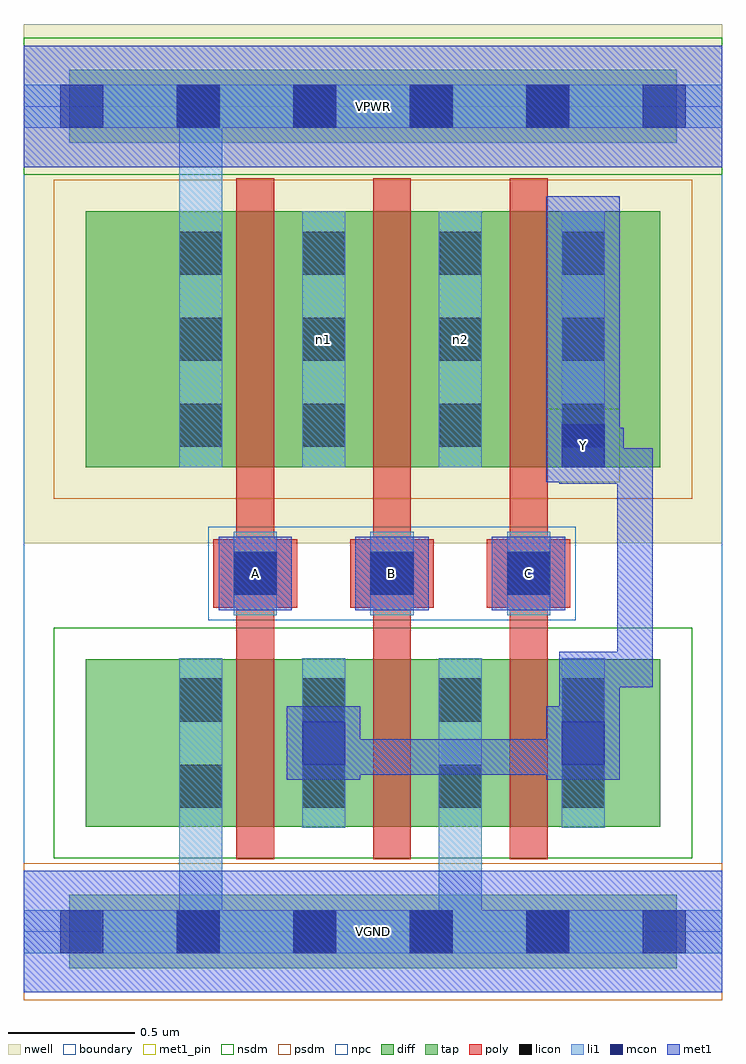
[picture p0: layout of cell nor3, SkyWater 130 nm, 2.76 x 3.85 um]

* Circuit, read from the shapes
.subckt nor3 A B C VGND VPWR Y n1 n2
XM1 Y A VGND VGND sky130_fd_pr__nfet_01v8 w=0.66 l=0.15
XM2 VGND B Y VGND sky130_fd_pr__nfet_01v8 w=0.66 l=0.15
XM3 Y C VGND VGND sky130_fd_pr__nfet_01v8 w=0.66 l=0.15
XM4 n1 A VPWR VPWR sky130_fd_pr__pfet_01v8 w=1.01 l=0.15
XM5 n2 B n1 VPWR sky130_fd_pr__pfet_01v8 w=1.01 l=0.15
XM6 Y C n2 VPWR sky130_fd_pr__pfet_01v8 w=1.01 l=0.15
.ends

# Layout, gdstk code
import gdstk
lib = gdstk.Library(unit=1e-6, precision=1e-09)
def R(c, l, rs):  # rectangles x0, y0, x1, y1
    for r in rs: c.add(gdstk.rectangle(r[:2], r[2:], *l))
def A(c, l, x, y, w, h, nx, ny, dx, dy):  # array of equal rectangles
    R(c, l, [(x+i*dx, y+j*dy, x+i*dx+w, y+j*dy+h) for i in range(nx) for j in range(ny)])
nwell = (64, 20)
diff = (65, 20)
tap = (65, 44)
poly = (66, 20)
licon = (66, 44)
li1 = (67, 20)
mcon = (67, 44)
met1_pin = (68, 16)
met1 = (68, 20)
nsdm = (93, 44)
psdm = (94, 20)
npc = (95, 20)
boundary = (235, 4)

nor3 = lib.new_cell('nor3')
R(nor3, nwell, [(0,1.535,2.76,3.585)])
R(nor3, diff, [(0.245,0.415,2.515,1.075), (0.245,1.835,2.515,2.845)])
R(nor3, tap, [(0.18,-0.145,2.58,0.145), (0.18,3.115,2.58,3.405)])
A(nor3, poly, 0.84, 0.285, 0.15, 2.69, 3, 1, 0.54, 0)
A(nor3, poly, 0.75, 1.28, 0.33, 0.27, 3, 1, 0.54, 0)
A(nor3, licon, 0.605, -0.085, 0.17, 0.17, 4, 2, 0.46, 3.26)
A(nor3, licon, 0.83, 1.33, 0.17, 0.17, 3, 1, 0.54, 0)
A(nor3, licon, 0.615, 1.915, 0.17, 0.17, 1, 3, 0, 0.34)
A(nor3, licon, 1.1, 1.915, 0.17, 0.17, 1, 3, 0, 0.34)
A(nor3, licon, 1.64, 1.915, 0.17, 0.17, 1, 3, 0, 0.34)
A(nor3, licon, 2.125, 1.915, 0.17, 0.17, 1, 3, 0, 0.34)
R(nor3, licon, [(0.615,0.49,0.785,0.66), (1.1,0.49,1.27,0.66), (1.64,0.49,1.81,0.66), (2.125,0.49,2.295,0.66), (0.615,0.83,0.785,1), (1.1,0.83,1.27,1), (1.64,0.83,1.81,1), (2.125,0.83,2.295,1)])
A(nor3, li1, 0.83, 1.25, 0.17, 0.33, 3, 1, 0.54, 0)
R(nor3, li1, [(0,-0.085,2.76,0.085), (0.615,-0.085,0.785,1.08), (1.64,-0.085,1.81,1.08), (0.615,0.41,0.785,1.08), (1.1,0.41,1.27,1.08), (1.64,0.41,1.81,1.08), (2.125,0.41,2.295,1.08), (0.615,1.835,0.785,2.845), (0.615,1.835,0.785,3.345), (1.1,1.835,1.27,2.845), (1.64,1.835,1.81,2.845), (2.125,1.835,2.295,2.845), (0,3.175,2.76,3.345)])
A(nor3, mcon, 0.145, -0.085, 0.17, 0.17, 6, 2, 0.46, 3.26)
A(nor3, mcon, 0.83, 1.33, 0.17, 0.17, 3, 1, 0.54, 0)
R(nor3, mcon, [(1.1,0.66,1.27,0.83), (2.125,0.66,2.295,0.83), (2.125,1.835,2.295,2.005)])
A(nor3, met1_pin, 0.77, 1.27, 0.29, 0.29, 3, 1, 0.54, 0)
R(nor3, met1_pin, [(0,-0.24,2.76,0.24), (2.065,1.775,2.355,2.065), (0,3.02,2.76,3.5)])
A(nor3, met1, 0.77, 1.27, 0.29, 0.29, 3, 1, 0.54, 0)
R(nor3, met1, [(0,-0.24,2.76,0.24), (1.04,0.6,1.33,0.89), (2.065,0.6,2.355,0.89), (1.08,0.62,1.22,0.76), (1.08,0.62,2.255,0.76), (2.115,0.62,2.255,0.76), (2.115,0.62,2.255,1.105), (2.115,0.89,2.355,0.965), (2.345,0.89,2.355,0.965), (2.115,0.965,2.485,1.105), (2.345,0.965,2.485,1.91), (2.115,1.77,2.37,1.91), (2.115,1.77,2.255,2.025), (2.23,1.77,2.37,1.99), (2.23,1.77,2.485,1.91), (2.065,1.775,2.355,2.065), (2.065,1.775,2.355,2.905), (2.14,1.85,2.37,1.99), (2.115,1.885,2.255,2.025), (0,3.02,2.76,3.5)])
R(nor3, nsdm, [(0.12,0.29,2.64,1.2), (0,2.99,2.76,3.53)])
R(nor3, psdm, [(0,-0.27,2.76,0.27), (0.12,1.71,2.64,2.97)])
R(nor3, npc, [(0.73,1.23,2.18,1.6)])
R(nor3, boundary, [(0,0,2.76,3.26)])
nor3.add(gdstk.Label('n1', (1.185,2.34), layer=67, texttype=5))
nor3.add(gdstk.Label('n2', (1.725,2.34), layer=67, texttype=5))
nor3.add(gdstk.Label('A', (0.915,1.415), layer=68, texttype=5))
nor3.add(gdstk.Label('B', (1.455,1.415), layer=68, texttype=5))
nor3.add(gdstk.Label('C', (1.995,1.415), layer=68, texttype=5))
nor3.add(gdstk.Label('Y', (2.21,1.92), layer=68, texttype=5))
nor3.add(gdstk.Label('VPWR', (1.38,3.26), layer=68, texttype=5))
nor3.add(gdstk.Label('VGND', (1.38,0), layer=68, texttype=5))
nor3.add(gdstk.Label('A', (0.915,1.415), layer=68, texttype=16))
nor3.add(gdstk.Label('B', (1.455,1.415), layer=68, texttype=16))
nor3.add(gdstk.Label('C', (1.995,1.415), layer=68, texttype=16))
nor3.add(gdstk.Label('Y', (2.21,1.92), layer=68, texttype=16))
nor3.add(gdstk.Label('VPWR', (1.38,3.26), layer=68, texttype=16))
nor3.add(gdstk.Label('VGND', (1.38,0), layer=68, texttype=16))

lib.write_gds('nor3.gds')
